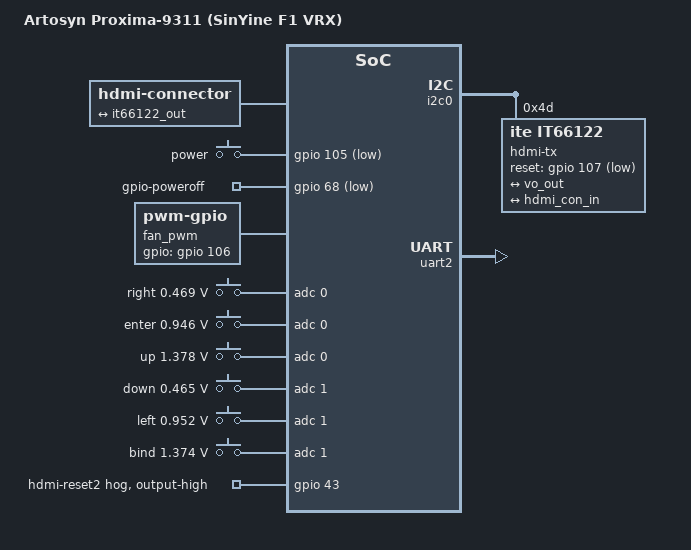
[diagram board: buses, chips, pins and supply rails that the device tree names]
// SPDX-License-Identifier: GPL-2.0
/*
 * SinYine F1 VRX (the StartRC VT5 VRX board: carrier TC001_MAIN V0.3, core
 * module SUN-GND V1.1): the AR9311 ground unit of the BetaFPV P1's design,
 * with an ITE IT66122 HDMI transmitter on the VO's parallel video port where
 * the P1 HD VRX has its LT9611EX on DSI. ml-kernel's goggle DT
 * (proxima-9311.dts, put next to this file by linux/linux-ext-ml-kernel.mk)
 * with the board's own ends. From SinYine's stock firmware
 * (SinYine_F1_VRX_20260914_V1.0.0):
 *   - video: VO DVP, BT.1120 style YCbCr 4:2:2 on 16 lines + HSYNC/VSYNC/DE
 *     (artosyn,dvp-bt1120, see artosyn_vo.c); the SPL muxes GPIO 45-64 to it
 *   - IT66122 at 7-bit 0x4d on i2c0 (with the RTC and an INA226 at 0x40):
 *     ar_lowdelay's "hdmi" device init puts the panel library on bus 0;
 *     no interrupt line, stock polls the chip
 *   - its reset: SinYine's own helper pulses GPIO 107, stock's boot script
 *     drives it high; the panel library pulses GPIO 43 (hogged high here).
 *     GPIO 42 high as stock's run.sh does ("LT9711_EN", the unused LT9711)
 *   - keys: two resistor ladders, ADC channel 0 right/up/enter, channel 1
 *     bind/down/left (stock's adc0-keys/adc1-keys)
 *   - power: button GPIO 105 (low while pressed); GPIO 68 low cuts the
 *     power (stock's button_proxy after a 2 s press), nothing drives it high
 *   - fan: GPIO 106, stock's fan_proxy runs it as a 200 Hz software PWM
 *   - buzzer: PWM 0x1000000 channel 3 (stock pwmchip0/pwm3)
 *   - UART2 (ttyS2), stock's FC link (uart_trans)
 * GPIO 100 is the SD card's I/O rail as on the BetaFPV units.
 */
#include "proxima-9311.dts"

/ {
	model = "Artosyn Proxima-9311 (SinYine F1 VRX)";

	aliases {
		serial2 = &uart2;
	};

	hdmi-connector {
		compatible = "hdmi-connector";
		type = "c";
		label = "hdmi";

		port {
			hdmi_con_in: endpoint {
				remote-endpoint = <&it66122_out>;
			};
		};
	};

	/* "power" (KEY_POWER): /usr/sbin/sinyine-power, short press and hold */
	power-button {
		compatible = "gpio-keys";

		power {
			label = "power";
			gpios = <&gpio 105 GPIO_ACTIVE_LOW>;
			linux,code = <116>;
			debounce-interval = <20>;
		};
	};

	/* poweroff drives GPIO 68 low; until then it stays an input, as on stock */
	gpio-poweroff {
		compatible = "gpio-poweroff";
		gpios = <&gpio 68 GPIO_ACTIVE_LOW>;
		input;
		timeout-ms = <3000>;
	};

	/* the fan's software PWM (S03sinyine-fan sets 200 Hz, 60 percent) */
	fan_pwm: fan-pwm {
		compatible = "pwm-gpio";
		gpios = <&gpio 106 GPIO_ACTIVE_HIGH>;
		#pwm-cells = <3>;
	};

	adc0-keys {
		compatible = "adc-keys";
		io-channels = <&adc 0>;
		io-channel-names = "buttons";
		poll-interval = <10>;
		keyup-threshold-microvolt = <11>;

		right-key {
			linux,code = <0x44>;
			label = "right";
			press-threshold-microvolt = <469000>;
		};
		enter-key {
			linux,code = <0x45>;
			label = "enter";
			press-threshold-microvolt = <946000>;
		};
		up-key {
			linux,code = <0x57>;
			label = "up";
			press-threshold-microvolt = <1378000>;
		};
	};

	adc1-keys {
		compatible = "adc-keys";
		io-channels = <&adc 1>;
		io-channel-names = "buttons";
		poll-interval = <10>;
		keyup-threshold-microvolt = <11>;

		down-key {
			linux,code = <0x53>;
			label = "down";
			press-threshold-microvolt = <465000>;
		};
		left-key {
			linux,code = <0x41>;
			label = "left";
			press-threshold-microvolt = <952000>;
		};
		bind-key {
			linux,code = <0x49>;
			label = "bind";
			press-threshold-microvolt = <1374000>;
		};
	};
};

/* no panel, no DSI, no backlight, the VR04's single ladder */
/delete-node/ &backlight;
/delete-node/ &dsi;
/delete-node/ &{/adc-keys};
/delete-node/ &panel_scan_v_hog;

&panel_scan_h_hog {
	output-high;
	/delete-property/ output-low;
	line-name = "lt9711-en";
};

&panel_power_hog {
	line-name = "sd-vqmmc";
};

&gpio {
	hdmi_reset2_hog: hdmi-reset2-hog {
		gpio-hog;
		gpios = <43 GPIO_ACTIVE_HIGH>;
		output-high;
		line-name = "hdmi-reset2";
	};
};

&vo {
	artosyn,timing-from-mode;
	artosyn,dvp-bt1120;
};

&vo_out {
	remote-endpoint = <&it66122_in>;
};

&i2c0 {
	hdmi-tx@4d {
		compatible = "ite,it66122";
		reg = <0x4d>;
		reset-gpios = <&gpio 107 GPIO_ACTIVE_LOW>;
		ite,force-hpd;

		ports {
			#address-cells = <1>;
			#size-cells = <0>;

			port@0 {
				reg = <0>;
				it66122_in: endpoint {
					bus-width = <16>;
					remote-endpoint = <&vo_out>;
				};
			};

			port@1 {
				reg = <1>;
				it66122_out: endpoint {
					remote-endpoint = <&hdmi_con_in>;
				};
			};
		};
	};
};

&{/soc} {
	uart2: serial@1504000 {
		compatible = "snps,dw-apb-uart";
		reg = <0 0x1504000 0 0x400>;
		interrupts = <GIC_SPI 13 IRQ_TYPE_LEVEL_HIGH>;
		clocks = <&clk150m>;
		reg-shift = <2>;
		reg-io-width = <4>;
		status = "okay";
	};
};
